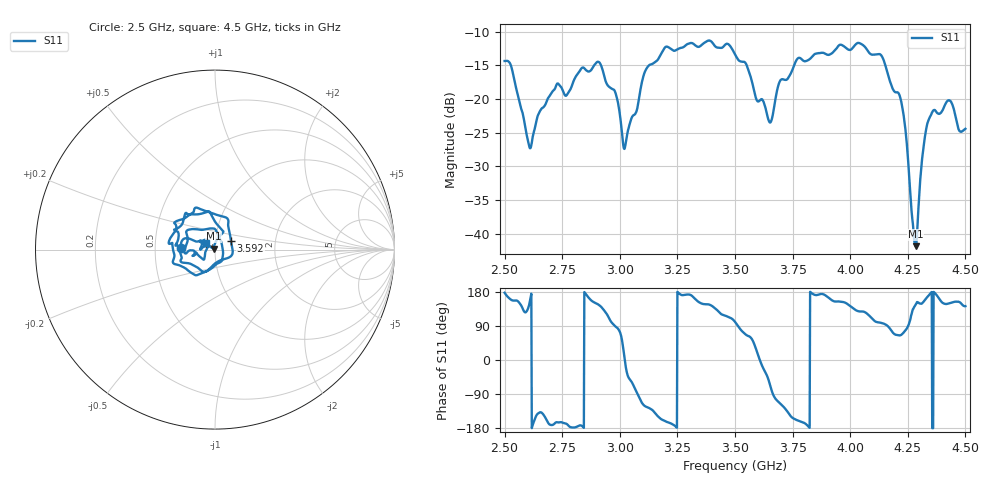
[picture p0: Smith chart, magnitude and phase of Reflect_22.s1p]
! Created with skrf (http://scikit-rf.org).
# Hz S RI R 50.0
!freq ReS11 ImS11
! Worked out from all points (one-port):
!   1001 points, 2.5 GHz to 4.5 GHz, reference 50 ohm
!   lowest |S11| = -41.9 dB at 4.284 GHz (marker M1), VSWR 1.02, Z = 49.3 + j0.45 ohm
!   |S11| at or under -10 dB: start of sweep to end of sweep
!   S11 on the Smith chart (normalised r, x): 2.5 GHz: 0.68, +0.01; 3.592 GHz: 1.19, +0.11; 4.5 GHz: 0.91, +0.07
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2.5e9  -0.1916 0.0083
2.53e9  -0.1594 0.0636
2.608e9  -0.0379 0.022
2.654e9  -0.0606 -0.0549
2.75e9  -0.1145 -0.0307
2.908e9  -0.1564 0.1059
3e9  0.0208 0.0746
3.022e9  0.0435 -0.00153
3.116e9  -0.094 -0.1399
3.25e9  -0.2336 8.74e-05
3.39e9  -0.2249 0.1524
3.5e9  -0.0399 0.2113
3.55e9  0.0741 0.1635
3.592e9  0.0888 0.0467
3.654e9  0.0233 -0.0629
3.694e9  -0.054 -0.1235
3.75e9  -0.1478 -0.0759
4e9  -0.1833 0.1417
4.14e9  -0.0249 0.2024
4.22e9  0.0402 0.0898
4.25e9  0.00153 0.0377
4.272e9  -0.00828 0.00853
4.284e9  -0.00667 0.00456
4.318e9  -0.039 0.0195
4.348e9  -0.0746 0.00542
4.43e9  -0.0845 0.0495
4.474e9  -0.0517 0.0262
4.5e9  -0.0474 0.037
